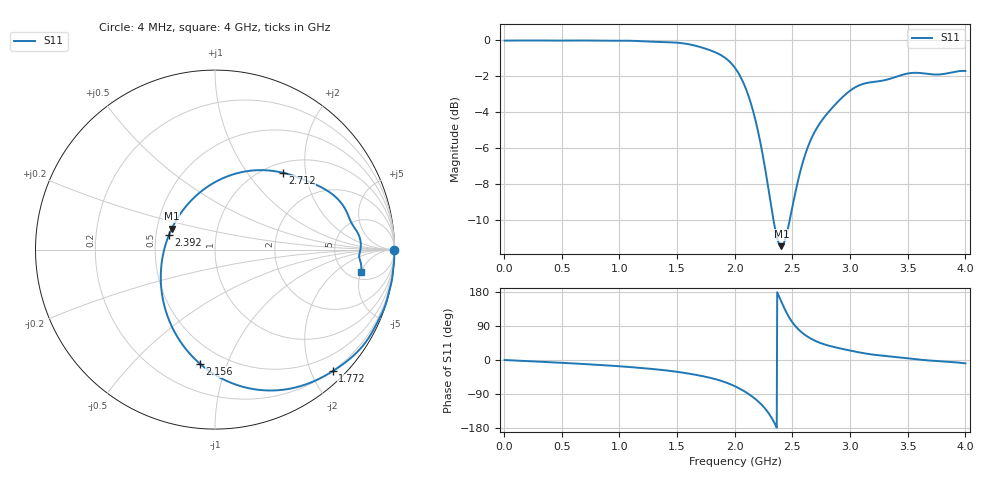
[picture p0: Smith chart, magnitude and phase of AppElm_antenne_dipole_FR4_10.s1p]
! TOUCHSTONE file generated by CST MICROWAVE STUDIO
! Date and time: Thu May 12 15:28:16 2022
! Project name: AppElm_antenne_dipole_FR4.cst
! Parameters = {L=38.8; e=0.035; f=2.45e+09; h=1.6; i=0.8; l1=4.8; lambda=122.449; ls=30; wl=1.7; ws=80}
! Header version: 2018
! Port assignment regex: !\s*Touchstone port\s*([0-9]+)\s*=\s*(CST MWS port|CST DS port)\s*([0-9]+|Zmin|Zmax)\s*\(\"(.*)\"\)(\s*mode\s*([0-9]+))?.*
! Touchstone port assignment:
! Touchstone port 1 = CST MWS port 1 ("")
# GHz S MA R 50
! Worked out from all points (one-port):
!   1000 points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, 4 MHz to 4 GHz, reference 50 ohm
!   lowest |S11| = -11.4 dB at 2.404 GHz (marker M1), VSWR 1.73, Z = 29.9 + j7.54 ohm
!   |S11| at or under -10 dB: 2.336 GHz to 2.476 GHz (140.1 MHz wide, 5.82 % of centre)
!   S11 on the Smith chart (normalised r, x): 4 MHz: open; 1.772 GHz: 0.19, -2.34; 2.156 GHz: 0.37, -0.81; 2.392 GHz: 0.58, +0.10; 2.712 GHz: 1.18, +1.50; 4 GHz: 6.31, -4.96
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0.004  0.999 -0.1
0.504  0.9992 -7.5
1.004  0.9983 -16.6
1.292  0.9918 -23.9
1.504  0.9856 -31.3
1.64  0.9701 -37.9
1.772  0.9427 -46.0
1.896  0.9038 -56.4
2.004  0.8371 -69.6
2.084  0.7507 -82.7
2.156  0.6414 -97.5
2.224  0.5163 -115.3
2.28  0.4087 -134.7
2.336  0.3163 -161.5
2.392  0.2693 162.4
2.404  0.2679 154.1
2.444  0.2848 127.7
2.504  0.35 97.6
2.548  0.4069 82.1
2.596  0.4652 69.2
2.712  0.571 48.6
2.828  0.6405 36.7
3.004  0.7266 24.7
3.148  0.762 16.5
3.504  0.8097 4.5
3.648  0.8092 -0.3
3.86  0.8123 -4.6
4  0.8226 -8.9
